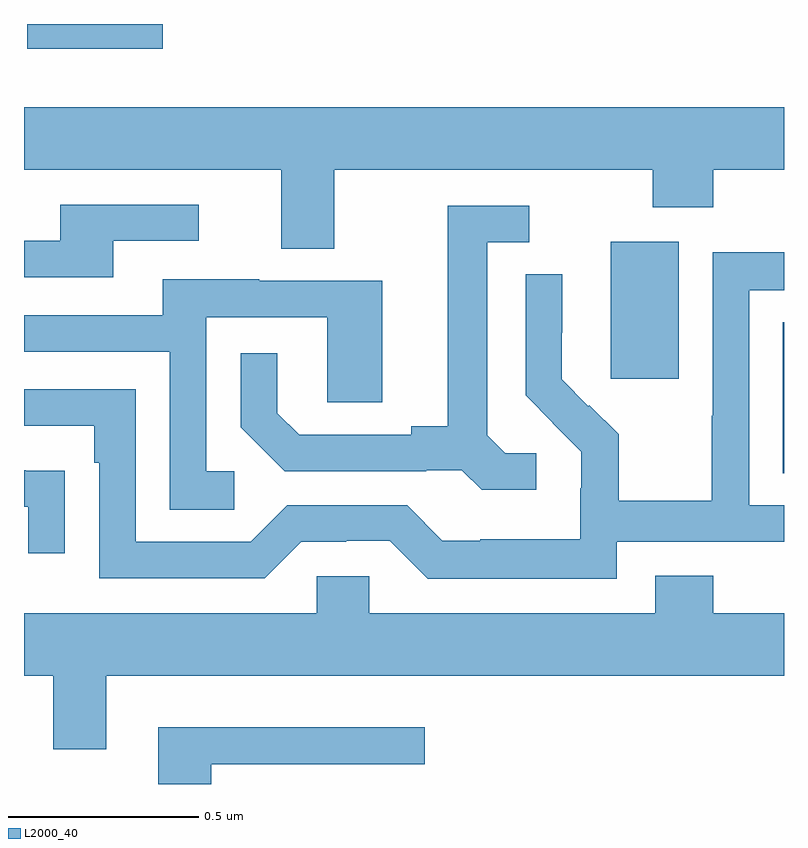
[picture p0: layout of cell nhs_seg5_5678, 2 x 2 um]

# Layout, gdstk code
import gdstk
lib = gdstk.Library(unit=1e-6, precision=1e-09)
def R(c, l, rs):  # rectangles x0, y0, x1, y1
    for r in rs: c.add(gdstk.rectangle(r[:2], r[2:], *l))
def P(c, l, *ps):  # polygons
    for p in ps: c.add(gdstk.Polygon(p, *l))
L2000_40 = (2000, 40)

nhs_seg5_5678 = lib.new_cell('nhs_seg5_5678')
R(nhs_seg5_5678, L2000_40, [(187.997,866.617,188,867.014), (187.544,866.865,187.723,867.226), (186.009,867.734,186.365,867.799)])
P(nhs_seg5_5678, L2000_40, [(186.817,867.416),(187.654,867.416),(187.654,867.317),(187.814,867.317),(187.814,867.416),(188,867.416),(188,867.58),(186,867.58),(186,867.416),(186.677,867.416),(186.677,867.208),(186.817,867.208)],
  [(186.235,867.228),(186.46,867.228),(186.46,867.324),(186.095,867.324),(186.095,867.228),(186,867.228),(186,867.132),(186.235,867.132)],
  [(187.348,866.67),(187.266,866.67),(187.219,866.717),(187.219,867.225),(187.33,867.225),(187.33,867.321),(187.115,867.321),(187.115,866.741),(187.019,866.741),(187.019,866.718),(186.724,866.718),(186.667,866.775),(186.667,866.932),(186.57,866.932),(186.57,866.738),(186.686,866.622),(187.058,866.622),(187.058,866.625),(187.152,866.625),(187.204,866.573),(187.348,866.573)],
  [(187.56,866.436),(188,866.436),(188,866.532),(187.908,866.532),(187.908,867.099),(188,867.099),(188,867.198),(187.812,867.198),(187.812,866.768),(187.81,866.768),(187.81,866.545),(187.565,866.545),(187.565,866.719),(187.488,866.796),(187.485,866.793),(187.415,866.864),(187.415,866.986),(187.416,866.986),(187.416,867.14),(187.32,867.14),(187.32,866.822),(187.393,866.749),(187.392,866.748),(187.466,866.674),(187.466,866.577),(187.464,866.577),(187.464,866.443),(187.201,866.443),(187.201,866.439),(187.101,866.439),(187.008,866.532),(186.693,866.532),(186.597,866.436),(186.294,866.436),(186.294,866.838),(186,866.838),(186,866.742),(186.185,866.742),(186.185,866.645),(186.198,866.645),(186.198,866.34),(186.633,866.34),(186.729,866.436),(186.848,866.436),(186.848,866.439),(186.963,866.439),(187.063,866.339),(187.56,866.339)],
  [(186.553,866.622),(186.48,866.622),(186.48,867.027),(186.798,867.027),(186.798,866.803),(186.943,866.803),(186.943,867.123),(186.619,867.123),(186.619,867.127),(186.365,867.127),(186.365,867.033),(186,867.033),(186,866.937),(186.384,866.937),(186.384,866.521),(186.553,866.521)],
  [(186.107,866.624),(186.005,866.624),(186.005,866.625),(186,866.625),(186,866.529),(186.011,866.529),(186.011,866.406),(186.107,866.406)],
  [(186.217,866.084),(188,866.084),(188,866.248),(187.814,866.248),(187.814,866.347),(187.661,866.347),(187.661,866.248),(186.909,866.248),(186.909,866.346),(186.771,866.346),(186.771,866.248),(186,866.248),(186,866.084),(186.077,866.084),(186.077,865.89),(186.217,865.89)],
  [(186.493,865.851),(187.054,865.851),(187.054,865.948),(186.353,865.948),(186.353,865.799),(186.493,865.799)])

lib.write_gds('nhs_seg5_5678.gds')
